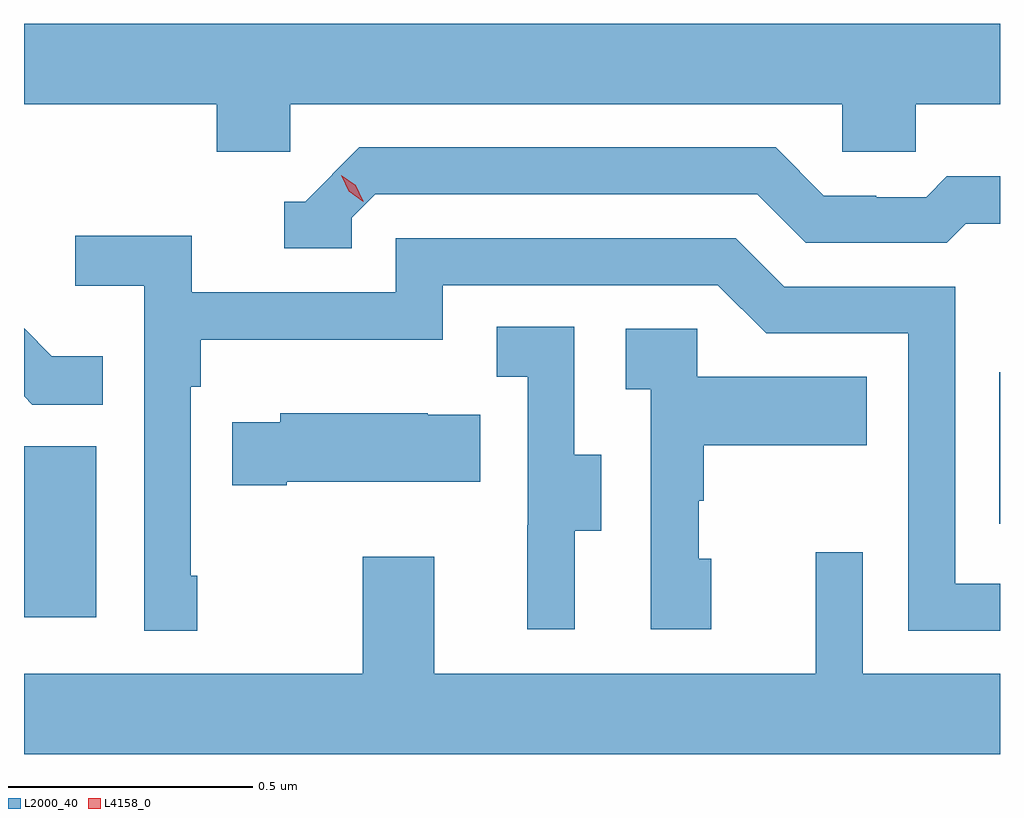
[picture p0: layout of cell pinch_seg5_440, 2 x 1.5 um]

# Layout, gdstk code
import gdstk
lib = gdstk.Library(unit=1e-6, precision=1e-09)
def R(c, l, rs):  # rectangles x0, y0, x1, y1
    for r in rs: c.add(gdstk.rectangle(r[:2], r[2:], *l))
def P(c, l, *ps):  # polygons
    for p in ps: c.add(gdstk.Polygon(p, *l))
L2000_40 = (2000, 40)
L4158_0 = (4158, 0)

pinch_seg5_440 = lib.new_cell('pinch_seg5_440')
R(pinch_seg5_440, L2000_40, [(904.17,873.024,904.318,873.375), (906.168,873.216,906.17,873.526)])
P(pinch_seg5_440, L2000_40, [(904.716,874.076),(905.847,874.076),(905.847,873.978),(905.997,873.978),(905.997,874.076),(906.17,874.076),(906.17,874.24),(904.17,874.24),(904.17,874.076),(904.565,874.076),(904.565,873.978),(904.716,873.978)],
  [(904.842,873.843),(904.89,873.891),(905.673,873.891),(905.772,873.792),(906.061,873.792),(906.1,873.831),(906.17,873.831),(906.17,873.928),(906.061,873.928),(906.019,873.885),(905.916,873.885),(905.916,873.888),(905.809,873.888),(905.71,873.987),(904.857,873.987),(904.746,873.876),(904.703,873.876),(904.703,873.78),(904.842,873.78)],
  [(904.525,873.109),(904.512,873.109),(904.512,873.497),(904.532,873.497),(904.532,873.593),(905.028,873.593),(905.028,873.705),(905.592,873.705),(905.691,873.606),(905.982,873.606),(905.982,872.997),(906.17,872.997),(906.17,873.093),(906.078,873.093),(906.078,873.702),(905.728,873.702),(905.629,873.801),(904.932,873.801),(904.932,873.69),(904.514,873.69),(904.514,873.806),(904.275,873.806),(904.275,873.704),(904.416,873.704),(904.416,872.997),(904.525,872.997)],
  [(905.299,873.202),(905.353,873.202),(905.353,873.357),(905.298,873.357),(905.298,873.62),(905.139,873.62),(905.139,873.517),(905.202,873.517),(905.202,873.213),(905.201,873.213),(905.201,873),(905.299,873)],
  [(904.331,873.559),(904.227,873.559),(904.17,873.616),(904.17,873.477),(904.187,873.46),(904.331,873.46)],
  [(905.578,873.144),(905.553,873.144),(905.553,873.263),(905.563,873.263),(905.563,873.377),(905.897,873.377),(905.897,873.517),(905.55,873.517),(905.55,873.615),(905.403,873.615),(905.403,873.491),(905.454,873.491),(905.454,873),(905.578,873)],
  [(904.708,873.302),(905.105,873.302),(905.105,873.439),(904.997,873.439),(904.997,873.442),(904.695,873.442),(904.695,873.424),(904.597,873.424),(904.597,873.295),(904.708,873.295)],
  [(906.17,872.908),(905.889,872.908),(905.889,873.157),(905.792,873.157),(905.792,872.908),(905.011,872.908),(905.011,873.148),(904.864,873.148),(904.864,872.908),(904.17,872.908),(904.17,872.744),(906.17,872.744)])
P(pinch_seg5_440, L4158_0, [(904.865,873.876),(904.835,873.897),(904.82,873.93),(904.82,873.93),(904.82,873.93),(904.85,873.91),(904.865,873.877),(904.865,873.876)])

lib.write_gds('pinch_seg5_440.gds')
